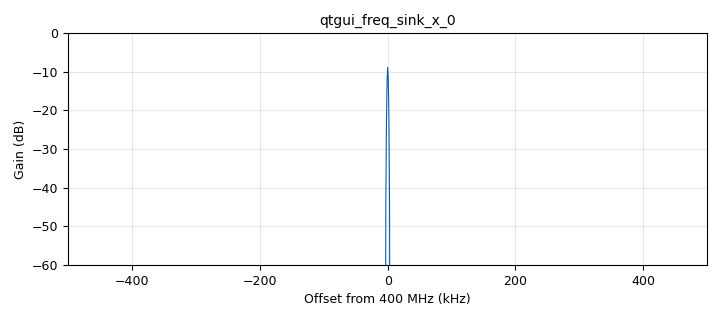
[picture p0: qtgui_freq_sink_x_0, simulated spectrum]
<?xml version='1.0' encoding='utf-8'?>
<?grc format='1' created='3.7.10'?>
<flow_graph>
<block>
<key>options</key>
<param><key>id</key><value>top_block</value></param>
<param><key>generate_options</key><value>qt_gui</value></param>
</block>
<block>
<key>variable_qtgui_range</key>
<param><key>id</key><value>audio_amp</value></param>
<param><key>value</key><value>0.1</value></param>
<param><key>orient</key><value>Qt.Horizontal</value></param>
<param><key>start</key><value>0</value></param>
<param><key>step</key><value>0.05</value></param>
<param><key>stop</key><value>1</value></param>
</block>
<block>
<key>variable</key>
<param><key>id</key><value>audio_samp_rate</value></param>
<param><key>value</key><value>48e3</value></param>
</block>
<block>
<key>variable_qtgui_range</key>
<param><key>id</key><value>base_freq</value></param>
<param><key>value</key><value>400e6</value></param>
<param><key>orient</key><value>Qt.Horizontal</value></param>
<param><key>start</key><value>100e6</value></param>
<param><key>step</key><value>0.1e6</value></param>
<param><key>stop</key><value>850e6</value></param>
</block>
<block>
<key>variable</key>
<param><key>id</key><value>samp_rate</value></param>
<param><key>value</key><value>1e6</value></param>
</block>
<block>
<key>analog_sig_source_x</key>
<param><key>id</key><value>analog_sig_source_x_0</value></param>
<param><key>amp</key><value>0</value></param>
<param><key>freq</key><value>0</value></param>
<param><key>offset</key><value>0</value></param>
<param><key>type</key><value>float</value></param>
<param><key>samp_rate</key><value>audio_samp_rate</value></param>
<param><key>waveform</key><value>analog.GR_COS_WAVE</value></param>
</block>
<block>
<key>analog_wfm_tx</key>
<param><key>id</key><value>analog_wfm_tx_0</value></param>
<param><key>audio_rate</key><value>int(audio_samp_rate)</value></param>
<param><key>max_dev</key><value>30e3</value></param>
<param><key>fh</key><value>-1.0</value></param>
<param><key>quad_rate</key><value>2*int(audio_samp_rate)</value></param>
<param><key>tau</key><value>75e-6</value></param>
</block>
<block>
<key>blocks_throttle</key>
<param><key>id</key><value>blocks_throttle_0</value></param>
<param><key>samples_per_second</key><value>samp_rate</value></param>
<param><key>type</key><value>complex</value></param>
</block>
<block>
<key>osmosdr_sink</key>
<param><key>id</key><value>osmosdr_sink_0</value></param>
<param><key>bb_gain0</key><value>20</value></param>
<param><key>freq0</key><value>base_freq</value></param>
<param><key>if_gain0</key><value>47</value></param>
<param><key>gain0</key><value>0</value></param>
<param><key>args</key><value></value></param>
<param><key>type</key><value>fc32</value></param>
<param><key>sample_rate</key><value>samp_rate</value></param>
</block>
<block>
<key>qtgui_freq_sink_x</key>
<param><key>id</key><value>qtgui_freq_sink_x_0</value></param>
<param><key>bw</key><value>samp_rate</value></param>
<param><key>fc</key><value>base_freq</value></param>
<param><key>fftsize</key><value>1024</value></param>
<param><key>grid</key><value>True</value></param>
<param><key>showports</key><value>True</value></param>
<param><key>type</key><value>complex</value></param>
<param><key>update_time</key><value>0.02</value></param>
<param><key>wintype</key><value>firdes.WIN_BLACKMAN_hARRIS</value></param>
<param><key>label</key><value>Gain</value></param>
<param><key>ymax</key><value>0</value></param>
<param><key>ymin</key><value>-60</value></param>
</block>
<block>
<key>qtgui_time_sink_x</key>
<param><key>id</key><value>qtgui_time_sink_x_0</value></param>
<param><key>entags</key><value>False</value></param>
<param><key>grid</key><value>True</value></param>
<param><key>color1</key><value>"blue"</value></param>
<param><key>label1</key><value></value></param>
<param><key>size</key><value>1024</value></param>
<param><key>srate</key><value>samp_rate</value></param>
<param><key>type</key><value>float</value></param>
<param><key>update_time</key><value>0.1</value></param>
</block>
<block>
<key>qtgui_waterfall_sink_x</key>
<param><key>id</key><value>qtgui_waterfall_sink_x_0</value></param>
<param><key>bw</key><value>samp_rate</value></param>
<param><key>fc</key><value>100.8e6</value></param>
<param><key>_enabled</key><value>0</value></param>
<param><key>fftsize</key><value>1024</value></param>
<param><key>grid</key><value>True</value></param>
<param><key>int_max</key><value>0</value></param>
<param><key>int_min</key><value>-60</value></param>
<param><key>showports</key><value>True</value></param>
<param><key>type</key><value>complex</value></param>
<param><key>update_time</key><value>0.02</value></param>
<param><key>wintype</key><value>firdes.WIN_BLACKMAN_hARRIS</value></param>
</block>
<block>
<key>rational_resampler_xxx</key>
<param><key>id</key><value>rational_resampler_xxx_0</value></param>
<param><key>decim</key><value>2*int(audio_samp_rate)</value></param>
<param><key>interp</key><value>int(samp_rate)</value></param>
<param><key>taps</key><value></value></param>
<param><key>type</key><value>ccc</value></param>
</block>
<connection><source_block_id>analog_sig_source_x_0</source_block_id><sink_block_id>analog_wfm_tx_0</sink_block_id><source_key>0</source_key><sink_key>0</sink_key></connection>
<connection><source_block_id>analog_sig_source_x_0</source_block_id><sink_block_id>qtgui_time_sink_x_0</sink_block_id><source_key>0</source_key><sink_key>0</sink_key></connection>
<connection><source_block_id>analog_wfm_tx_0</source_block_id><sink_block_id>rational_resampler_xxx_0</sink_block_id><source_key>0</source_key><sink_key>0</sink_key></connection>
<connection><source_block_id>blocks_throttle_0</source_block_id><sink_block_id>qtgui_freq_sink_x_0</sink_block_id><source_key>0</source_key><sink_key>0</sink_key></connection>
<connection><source_block_id>blocks_throttle_0</source_block_id><sink_block_id>qtgui_waterfall_sink_x_0</sink_block_id><source_key>0</source_key><sink_key>0</sink_key></connection>
<connection><source_block_id>rational_resampler_xxx_0</source_block_id><sink_block_id>blocks_throttle_0</sink_block_id><source_key>0</source_key><sink_key>0</sink_key></connection>
<connection><source_block_id>rational_resampler_xxx_0</source_block_id><sink_block_id>osmosdr_sink_0</sink_block_id><source_key>0</source_key><sink_key>0</sink_key></connection>
</flow_graph>
